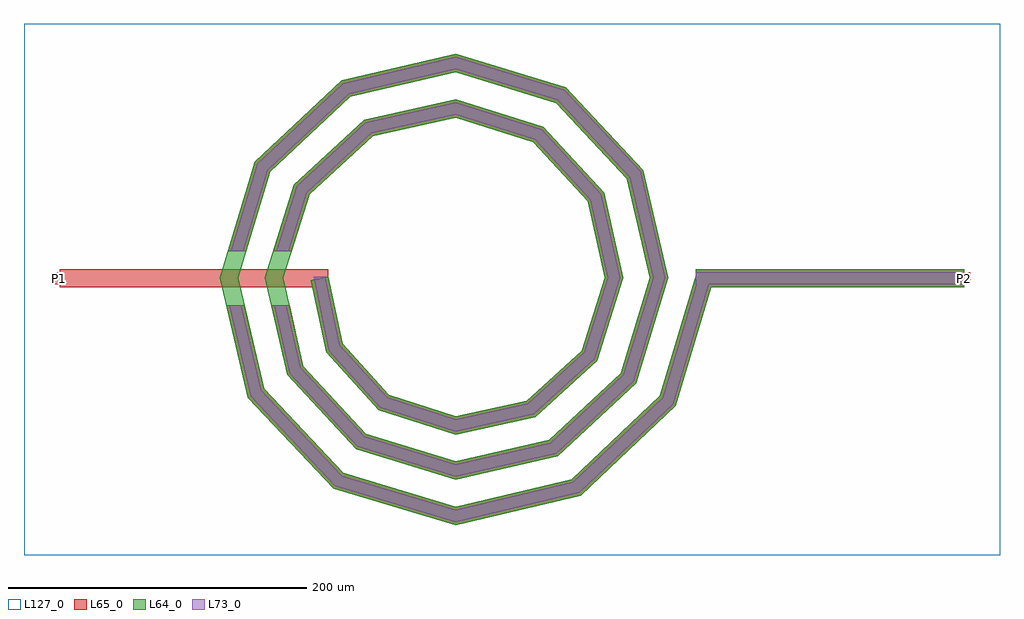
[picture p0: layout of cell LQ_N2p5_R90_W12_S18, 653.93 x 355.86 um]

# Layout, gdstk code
import gdstk
lib = gdstk.Library(unit=1e-6, precision=1e-09)
def R(c, l, rs):  # rectangles x0, y0, x1, y1
    for r in rs: c.add(gdstk.rectangle(r[:2], r[2:], *l))
def P(c, l, *ps):  # polygons
    for p in ps: c.add(gdstk.Polygon(p, *l))
L64_0 = (64, 0)
L65_0 = (65, 0)
L73_0 = (73, 0)
L127_0 = (127, 0)

lq_n2p5_r90_w12_s18 = lib.new_cell('LQ_N2p5_R90_W12_S18')
R(lq_n2p5_r90_w12_s18, L64_0, [(160.895,-6,340.895,6)])
P(lq_n2p5_r90_w12_s18, L64_0, [(-75.497,-43.95),(-44.679,-77.996),(0.297,-92.414),(47.722,-82.078),(84.553,-48.491),(99.999,0.276),(88.657,51.497),(52.3,91.113),(0.257,107.585),(-55.275,95.235),(-97.674,56.107),(-115.17,0.241),(-101.812,-59.054),(-59.913,-104.236),(0.227,-122.756),(62.835,-108.388),(110.799,-63.717),(130.342,0.215),(114.964,66.618),(67.52,117.362),(0.203,137.927),(-70.401,121.539),(-123.927,71.322),(-145.513,0.193),(-128.113,-74.186),(-75.123,-130.491),(0.184,-153.099),(77.971,-134.687),(137.057,-78.924),(161.146,1.717),(172.644,-1.717),(147.634,-85.442),(83.866,-145.623),(0.184,-165.518),(-81.656,-141.059),(-139.058,-80.066),(-157.931,0.193),(-134.484,77.871),(-76.264,132.493),(0.203,150.345),(74.087,127.909),(125.928,72.461),(142.759,0.215),(121.333,-70.304),(68.658,-119.364),(0.227,-135.172),(-66.522,-114.757),(-112.801,-64.852),(-127.586,0.241),(-108.179,62.742),(-61.046,106.238),(0.257,119.999),(58.963,101.6),(99.677,57.237),(112.412,0.276),(95.02,-55.186),(53.426,-93.116),(0.297,-104.825),(-51.412,-88.439),(-86.557,-49.613),(-96.901,-1.255),(-85.166,1.255)])
R(lq_n2p5_r90_w12_s18, L65_0, [(-265.034,-6,-85.034,6), (160.895,-6,340.895,6), (-269.034,-4,-261.034,4), (336.895,-4,344.895,4)])
P(lq_n2p5_r90_w12_s18, L65_0, [(-128.113,-74.186),(-75.123,-130.491),(0.184,-153.099),(77.971,-134.687),(137.057,-78.924),(161.146,1.717),(172.644,-1.717),(147.634,-85.442),(83.867,-145.623),(0.184,-165.518),(-81.656,-141.059),(-139.058,-80.066),(-153.653,-18),(-141.326,-18)],
  [(-101.812,-59.054),(-59.913,-104.236),(0.227,-122.756),(62.835,-108.388),(110.799,-63.717),(130.342,0.215),(114.964,66.618),(67.52,117.362),(0.203,137.928),(-70.401,121.539),(-123.927,71.322),(-140.022,18),(-152.557,18),(-134.485,77.871),(-76.264,132.493),(0.203,150.345),(74.087,127.909),(125.928,72.461),(142.759,0.215),(121.333,-70.304),(68.658,-119.364),(0.227,-135.172),(-66.522,-114.757),(-112.801,-64.853),(-123.442,-18),(-111.137,-18)],
  [(-44.679,-77.996),(0.297,-92.414),(47.722,-82.078),(84.554,-48.491),(99.999,0.276),(88.657,51.497),(52.3,91.113),(0.257,107.585),(-55.275,95.235),(-97.674,56.107),(-109.506,18),(-122.072,18),(-108.179,62.742),(-61.046,106.238),(0.257,119.999),(58.963,101.6),(99.677,57.237),(112.412,0.276),(95.02,-55.186),(53.426,-93.116),(0.297,-104.825),(-51.412,-88.439),(-86.557,-49.613),(-96.901,-1.255),(-85.166,1.255),(-75.497,-43.95)])
R(lq_n2p5_r90_w12_s18, L73_0, [(160.895,-4,340.895,4)])
P(lq_n2p5_r90_w12_s18, L73_0, [(-129.937,-75.166),(-76.212,-132.253),(0.123,-155.169),(78.953,-136.51),(138.82,-80.01),(163.062,1.145),(170.727,-1.145),(145.871,-84.356),(82.884,-143.801),(0.123,-163.448),(-80.568,-139.298),(-137.234,-79.086),(-151.599,-18),(-143.38,-18)],
  [(-103.643,-60.021),(-61.015,-105.989),(0.151,-124.825),(63.806,-110.218),(112.555,-64.815),(132.411,0.143),(116.791,67.592),(68.615,119.12),(0.136,139.997),(-71.378,123.364),(-125.686,72.414),(-142.111,18),(-150.467,18),(-132.725,76.78),(-75.287,130.667),(0.136,148.276),(72.993,126.151),(124.101,71.487),(140.689,0.143),(119.578,-69.206),(67.687,-117.535),(0.151,-133.103),(-65.421,-113.003),(-110.969,-63.886),(-121.391,-18),(-113.188,-18)],
  [(-45.801,-79.736),(0.198,-94.483),(48.673,-83.918),(86.298,-49.607),(102.068,0.184),(90.494,52.454),(53.411,92.861),(0.172,109.654),(-56.237,97.069),(-99.425,57.213),(-111.601,18),(-119.977,18),(-106.428,61.636),(-60.084,104.404),(0.172,117.93),(57.853,99.853),(97.84,56.281),(110.343,0.184),(93.276,-54.07),(52.476,-91.277),(0.198,-102.757),(-50.29,-86.698),(-84.714,-48.669),(-94.945,0.837),(-87.122,0.837),(-77.341,-44.894)])
R(lq_n2p5_r90_w12_s18, L127_0, [(-289.034,-185.518,364.895,170.345)])
lq_n2p5_r90_w12_s18.add(gdstk.Label('P2', (340.895,0), layer=65, texttype=0))
lq_n2p5_r90_w12_s18.add(gdstk.Label('P1', (-265.034,0), layer=65, texttype=0))
lq_n2p5_r90_w12_s18.add(gdstk.Label('P2', (344.895,0), layer=145, texttype=0))
lq_n2p5_r90_w12_s18.add(gdstk.Label('P1', (-269.034,0), layer=145, texttype=0))

lib.write_gds('LQ_N2p5_R90_W12_S18.gds')
